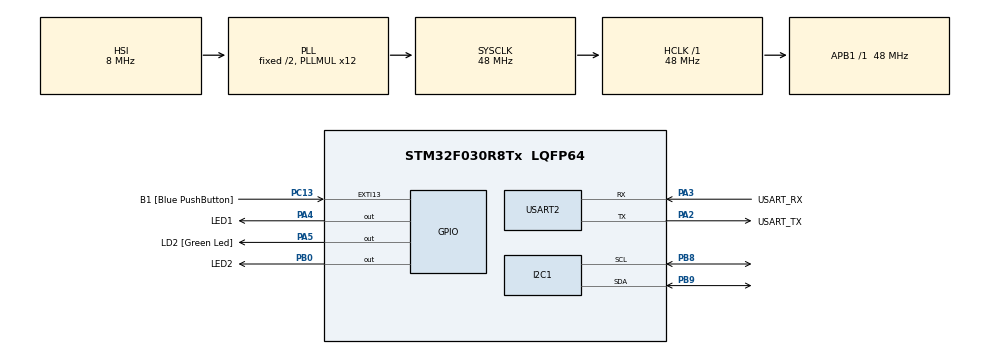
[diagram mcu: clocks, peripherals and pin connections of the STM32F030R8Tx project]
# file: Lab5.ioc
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Dma.Request0=USART2_RX
Dma.USART2_RX.0.Direction=DMA_PERIPH_TO_MEMORY
Dma.USART2_RX.0.Instance=DMA1_Channel5
Dma.USART2_RX.0.MemDataAlignment=DMA_MDATAALIGN_BYTE
Dma.USART2_RX.0.MemInc=DMA_MINC_ENABLE
Dma.USART2_RX.0.Mode=DMA_CIRCULAR
Dma.USART2_RX.0.PeriphDataAlignment=DMA_PDATAALIGN_BYTE
Dma.USART2_RX.0.PeriphInc=DMA_PINC_DISABLE
Dma.USART2_RX.0.Priority=DMA_PRIORITY_LOW
Mcu.Family=STM32F0
Mcu.Name=STM32F030R8Tx
Mcu.Package=LQFP64
NVIC.DMA1_Channel4_5_IRQn=true\:0\:0\:false\:false\:true\:false\:true
PA13.GPIO_Label=TMS
PA13.Mode=Serial_Wire
PA13.Signal=SYS_SWDIO
PA14.GPIO_Label=TCK
PA14.Mode=Serial_Wire
PA14.Signal=SYS_SWCLK
PA2.GPIO_Label=USART_TX
PA2.GPIO_Mode=GPIO_MODE_AF_PP
PA2.GPIO_PuPd=GPIO_NOPULL
PA2.GPIO_Speed=GPIO_SPEED_FREQ_LOW
PA2.Mode=Asynchronous
PA2.Signal=USART2_TX
PA3.GPIO_Label=USART_RX
PA3.GPIO_Mode=GPIO_MODE_AF_PP
PA3.GPIO_PuPd=GPIO_NOPULL
PA3.GPIO_Speed=GPIO_SPEED_FREQ_LOW
PA3.Mode=Asynchronous
PA3.Signal=USART2_RX
PA4.GPIO_Label=LED1
PA4.Signal=GPIO_Output
PA5.GPIO_Label=LD2 [Green Led]
PA5.GPIO_Mode=GPIO_MODE_OUTPUT_PP
PA5.GPIO_PuPd=GPIO_NOPULL
PA5.GPIO_Speed=GPIO_SPEED_FREQ_LOW
PA5.Signal=GPIO_Output
PB0.GPIO_Label=LED2
PB0.Signal=GPIO_Output
PB8.Mode=I2C
PB8.Signal=I2C1_SCL
PB9.Mode=I2C
PB9.Signal=I2C1_SDA
PC13.GPIO_Label=B1 [Blue PushButton]
PC13.GPIO_ModeDefaultEXTI=GPIO_MODE_IT_FALLING
PC13.Signal=GPXTI13
PC14-OSC32_IN.Mode=LSE-External-Oscillator
PC14-OSC32_IN.Signal=RCC_OSC32_IN
PC15-OSC32_OUT.Mode=LSE-External-Oscillator
PC15-OSC32_OUT.Signal=RCC_OSC32_OUT
PF0-OSC_IN.Mode=HSE-External-Clock-Source
PF0-OSC_IN.Signal=RCC_OSC_IN
PF1-OSC_OUT.Signal=RCC_OSC_OUT
ProjectManager.HeapSize=0x200
ProjectManager.StackSize=0x400
ProjectManager.TargetToolchain=STM32CubeIDE
RCC.AHBFreq_Value=48000000
RCC.APB1Freq_Value=48000000
RCC.APB1TimFreq_Value=48000000
RCC.HCLKFreq_Value=48000000
RCC.PLLMUL=RCC_PLL_MUL12
RCC.SYSCLKFreq_VALUE=48000000
RCC.SYSCLKSource=RCC_SYSCLKSOURCE_PLLCLK
USART2.VirtualMode-Asynchronous=VM_ASYNC
board=NUCLEO-F030R8

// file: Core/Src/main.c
/* USER CODE BEGIN Header */
/**
  ******************************************************************************
  * @file           : main.c
  * @brief          : Main program body
  ******************************************************************************
  * @attention
  *
  * <h2><center>&copy; Copyright (c) 2021 STMicroelectronics.
  * All rights reserved.</center></h2>
  *
  * This software component is licensed by ST under BSD 3-Clause license,
  * the "License"; You may not use this file except in compliance with the
  * License. You may obtain a copy of the License at:
  *                        opensource.org/licenses/BSD-3-Clause
  *
  ******************************************************************************
  */
/* USER CODE END Header */
#include "main.h"

/* USER CODE BEGIN Includes */
#include <stdio.h>
#include <string.h>
#include <stdlib.h>
/* USER CODE END Includes */

I2C_HandleTypeDef hi2c1;

UART_HandleTypeDef huart2;
DMA_HandleTypeDef hdma_usart2_rx;

/* USER CODE BEGIN PV */

#define RX_BUFFER_LEN 64
static uint8_t uart_rx_buf[RX_BUFFER_LEN];
static volatile uint16_t uart_rx_read_ptr = 0;
#define uart_rx_write_ptr (RX_BUFFER_LEN - hdma_usart2_rx.Instance->CNDTR)
#define CMD_BUFFER_LEN 256
#define EEPROM_ADDR 0xA0 // adresa z datasheetu pro eeprom - piny a0 a a2 jsou na GND 0b10100000

/* USER CODE END PV */

void SystemClock_Config(void);
static void MX_GPIO_Init(void);
static void MX_DMA_Init(void);
static void MX_USART2_UART_Init(void);
static void MX_I2C1_Init(void);

/* USER CODE BEGIN 0 */

// aby fungoval printf
int _write(int file, char const *buf, int n)
{
 /* stdout redirection to UART2 */
 HAL_UART_Transmit(&huart2, (uint8_t*)(buf), n, HAL_MAX_DELAY);
 return n;
}

void uart_process_command(char *cmd)
{
//	printf("prijato: '%s'\n", cmd); // vypise zpatky co poslu + prijato:

	/*ctu ruzne stavy co mu poslu a bud se se mnou bavi nebo zapina a vypina ledky*/
	char *token;
	token = strtok(cmd, " ");

	if (strcasecmp(token, "HELLO") == 0)
	{
		printf("Komunikace OK\n");
	}

	else if (strcasecmp(token, "LED1") == 0)
	{
		token = strtok(NULL, " ");
		if (strcasecmp(token, "ON") == 0)
		{
			HAL_GPIO_WritePin(LED1_GPIO_Port, LED1_Pin, GPIO_PIN_SET);
			printf("LED1 on OK\n");
		}
		else if (strcasecmp(token, "OFF") == 0)
		{
			HAL_GPIO_WritePin(LED1_GPIO_Port, LED1_Pin, GPIO_PIN_RESET);
			printf("LED1 off OK\n");
		}
	}

	else if (strcasecmp(token, "LED2") == 0)
	{
		token = strtok(NULL, " ");
		if (strcasecmp(token, "ON") == 0)
		{
			HAL_GPIO_WritePin(LED2_GPIO_Port, LED2_Pin, GPIO_PIN_SET);
		}
		else if (strcasecmp(token, "OFF") == 0)
		{
			HAL_GPIO_WritePin(LED2_GPIO_Port, LED2_Pin, GPIO_PIN_RESET);
		}
		printf("OK\n");

	}

	else if (strcasecmp(token, "STATUS") == 0)
	{
		uint8_t stat1 = 0;
		uint8_t stat2 = 0;

		stat1 = HAL_GPIO_ReadPin(LED1_GPIO_Port, LED1_Pin);
		stat2 = HAL_GPIO_ReadPin(LED2_GPIO_Port, LED2_Pin);
		{
			printf("Status 1: %i, Status2: %i \n", stat1, stat2);
		}
	}

	else if (strcasecmp(token, "READ") == 0)
	{
		token = strtok(NULL, " ");

		uint8_t value = 0;
		uint16_t addr = 0;

		addr = atoi(token);

		HAL_I2C_Mem_Read(&hi2c1, EEPROM_ADDR, addr, I2C_MEMADD_SIZE_16BIT, &value, 1, 1000);
		printf("Adresa 0x%x = 0x%x \n", addr, value);
	}

	else if (strcasecmp(token, "WRITE") == 0)
	{
		uint16_t addr = 0;
		uint8_t value = 0;

		token = strtok(NULL, " ");
		addr = atoi(token);

		token = strtok(NULL, " ");
		value = atoi(token);

		/* Check if the EEPROM is ready for a new operation */
		while (HAL_I2C_IsDeviceReady(&hi2c1, EEPROM_ADDR, 300, 1000) == HAL_TIMEOUT) {}
		HAL_I2C_Mem_Write(&hi2c1, EEPROM_ADDR, addr, I2C_MEMADD_SIZE_16BIT, &value, 1, 1000);

		printf("OK \n");
	}

	else if (strcasecmp(token, "DUMP") == 0)
	{
		uint16_t addr = 0;
		uint8_t value = 0;

		// set memory to 0 by "looping" through the addresses and writing 0s to them
		for(uint8_t i = 0; i<16; i++)
		{
			addr = i;
			value = 0;

			HAL_I2C_Mem_Read(&hi2c1, EEPROM_ADDR, addr, I2C_MEMADD_SIZE_16BIT, &value, 1, 1000);

				printf("0x%02x ", value);

				if (i==8){printf("\n");}

		}
		printf("\n");
	}

}

//  ukladam tisknutelne znaky ascii kodu 32-126 do dalsiho bufferu
static void uart_byte_available(uint8_t c)
{
 static uint16_t cnt;
 static char data[CMD_BUFFER_LEN];
 if (cnt < CMD_BUFFER_LEN && c >= 32 && c <= 126) data[cnt++] = c;
 if ((c == '\n' || c == '\r') && cnt > 0) {
 data[cnt] = '\0';
 uart_process_command(data);
 cnt = 0;
 }
}

/* USER CODE END 0 */

int main(void)
{

  /* MCU Configuration--------------------------------------------------------*/

  /* Reset of all peripherals, Initializes the Flash interface and the Systick. */
  HAL_Init();

  /* Configure the system clock */
  SystemClock_Config();

  /* Initialize all configured peripherals */
  MX_GPIO_Init();
  MX_DMA_Init();
  MX_USART2_UART_Init();
  MX_I2C1_Init();
  /* USER CODE BEGIN 2 */

  HAL_UART_Receive_DMA(&huart2, uart_rx_buf, RX_BUFFER_LEN);

  /* USER CODE END 2 */

  /* Infinite loop */
  while (1)
  {

    /* USER CODE BEGIN 3 */
//	// Loopback which answers every received byte back to the user
//	uint8_t c;
//	HAL_UART_Receive(&huart2, &c, 1, HAL_MAX_DELAY);
//	HAL_UART_Transmit(&huart2, &c, 1, HAL_MAX_DELAY);
//  }

	// zpracovava jednotlive bajty z bufferu
	while (uart_rx_read_ptr != uart_rx_write_ptr) {
	uint8_t b = uart_rx_buf[uart_rx_read_ptr];
	if (++uart_rx_read_ptr >= RX_BUFFER_LEN) uart_rx_read_ptr = 0; // increase read pointer
	uart_byte_available(b); // process every received byte with the RX state machine
	}

  }
  /* USER CODE END 3 */
}

void SystemClock_Config(void)
{
  RCC_OscInitTypeDef RCC_OscInitStruct = {0};
  RCC_ClkInitTypeDef RCC_ClkInitStruct = {0};
  RCC_PeriphCLKInitTypeDef PeriphClkInit = {0};

  /** Initializes the RCC Oscillators according to the specified parameters
  * in the RCC_OscInitTypeDef structure.
  */
  RCC_OscInitStruct.OscillatorType = RCC_OSCILLATORTYPE_HSI;
  RCC_OscInitStruct.HSIState = RCC_HSI_ON;
  RCC_OscInitStruct.HSICalibrationValue = RCC_HSICALIBRATION_DEFAULT;
  RCC_OscInitStruct.PLL.PLLState = RCC_PLL_ON;
  RCC_OscInitStruct.PLL.PLLSource = RCC_PLLSOURCE_HSI;
  RCC_OscInitStruct.PLL.PLLMUL = RCC_PLL_MUL12;
  RCC_OscInitStruct.PLL.PREDIV = RCC_PREDIV_DIV1;
  if (HAL_RCC_OscConfig(&RCC_OscInitStruct) != HAL_OK)
  {
    Error_Handler();
  }
  /** Initializes the CPU, AHB and APB buses clocks
  */
  RCC_ClkInitStruct.ClockType = RCC_CLOCKTYPE_HCLK|RCC_CLOCKTYPE_SYSCLK
                              |RCC_CLOCKTYPE_PCLK1;
  RCC_ClkInitStruct.SYSCLKSource = RCC_SYSCLKSOURCE_PLLCLK;
  RCC_ClkInitStruct.AHBCLKDivider = RCC_SYSCLK_DIV1;
  RCC_ClkInitStruct.APB1CLKDivider = RCC_HCLK_DIV1;

  if (HAL_RCC_ClockConfig(&RCC_ClkInitStruct, FLASH_LATENCY_1) != HAL_OK)
  {
    Error_Handler();
  }
  PeriphClkInit.PeriphClockSelection = RCC_PERIPHCLK_I2C1;
  PeriphClkInit.I2c1ClockSelection = RCC_I2C1CLKSOURCE_HSI;
  if (HAL_RCCEx_PeriphCLKConfig(&PeriphClkInit) != HAL_OK)
  {
    Error_Handler();
  }
}

static void MX_I2C1_Init(void)
{

  hi2c1.Instance = I2C1;
  hi2c1.Init.Timing = 0x2000090E;
  hi2c1.Init.OwnAddress1 = 0;
  hi2c1.Init.AddressingMode = I2C_ADDRESSINGMODE_7BIT;
  hi2c1.Init.DualAddressMode = I2C_DUALADDRESS_DISABLE;
  hi2c1.Init.OwnAddress2 = 0;
  hi2c1.Init.OwnAddress2Masks = I2C_OA2_NOMASK;
  hi2c1.Init.GeneralCallMode = I2C_GENERALCALL_DISABLE;
  hi2c1.Init.NoStretchMode = I2C_NOSTRETCH_DISABLE;
  if (HAL_I2C_Init(&hi2c1) != HAL_OK)
  {
    Error_Handler();
  }
  /** Configure Analogue filter
  */
  if (HAL_I2CEx_ConfigAnalogFilter(&hi2c1, I2C_ANALOGFILTER_ENABLE) != HAL_OK)
  {
    Error_Handler();
  }
  /** Configure Digital filter
  */
  if (HAL_I2CEx_ConfigDigitalFilter(&hi2c1, 0) != HAL_OK)
  {
    Error_Handler();
  }

}

static void MX_USART2_UART_Init(void)
{

  huart2.Instance = USART2;
  huart2.Init.BaudRate = 38400;
  huart2.Init.WordLength = UART_WORDLENGTH_8B;
  huart2.Init.StopBits = UART_STOPBITS_1;
  huart2.Init.Parity = UART_PARITY_NONE;
  huart2.Init.Mode = UART_MODE_TX_RX;
  huart2.Init.HwFlowCtl = UART_HWCONTROL_NONE;
  huart2.Init.OverSampling = UART_OVERSAMPLING_16;
  huart2.Init.OneBitSampling = UART_ONE_BIT_SAMPLE_DISABLE;
  huart2.AdvancedInit.AdvFeatureInit = UART_ADVFEATURE_NO_INIT;
  if (HAL_UART_Init(&huart2) != HAL_OK)
  {
    Error_Handler();
  }

}

static void MX_DMA_Init(void)
{

  /* DMA controller clock enable */
  __HAL_RCC_DMA1_CLK_ENABLE();

  /* DMA interrupt init */
  /* DMA1_Channel4_5_IRQn interrupt configuration */
  HAL_NVIC_SetPriority(DMA1_Channel4_5_IRQn, 0, 0);
  HAL_NVIC_EnableIRQ(DMA1_Channel4_5_IRQn);

}

static void MX_GPIO_Init(void)
{
  GPIO_InitTypeDef GPIO_InitStruct = {0};

  /* GPIO Ports Clock Enable */
  __HAL_RCC_GPIOC_CLK_ENABLE();
  __HAL_RCC_GPIOF_CLK_ENABLE();
  __HAL_RCC_GPIOA_CLK_ENABLE();
  __HAL_RCC_GPIOB_CLK_ENABLE();

  /*Configure GPIO pin Output Level */
  HAL_GPIO_WritePin(GPIOA, LED1_Pin|LD2_Pin, GPIO_PIN_RESET);

  /*Configure GPIO pin Output Level */
  HAL_GPIO_WritePin(LED2_GPIO_Port, LED2_Pin, GPIO_PIN_RESET);

  /*Configure GPIO pin : B1_Pin */
  GPIO_InitStruct.Pin = B1_Pin;
  GPIO_InitStruct.Mode = GPIO_MODE_IT_FALLING;
  GPIO_InitStruct.Pull = GPIO_NOPULL;
  HAL_GPIO_Init(B1_GPIO_Port, &GPIO_InitStruct);

  /*Configure GPIO pins : LED1_Pin LD2_Pin */
  GPIO_InitStruct.Pin = LED1_Pin|LD2_Pin;
  GPIO_InitStruct.Mode = GPIO_MODE_OUTPUT_PP;
  GPIO_InitStruct.Pull = GPIO_NOPULL;
  GPIO_InitStruct.Speed = GPIO_SPEED_FREQ_LOW;
  HAL_GPIO_Init(GPIOA, &GPIO_InitStruct);

  /*Configure GPIO pin : LED2_Pin */
  GPIO_InitStruct.Pin = LED2_Pin;
  GPIO_InitStruct.Mode = GPIO_MODE_OUTPUT_PP;
  GPIO_InitStruct.Pull = GPIO_NOPULL;
  GPIO_InitStruct.Speed = GPIO_SPEED_FREQ_LOW;
  HAL_GPIO_Init(LED2_GPIO_Port, &GPIO_InitStruct);

}

void Error_Handler(void)
{
  __disable_irq();
  while (1)
  {
  }
}

/************************ (C) COPYRIGHT STMicroelectronics *****END OF FILE****/
